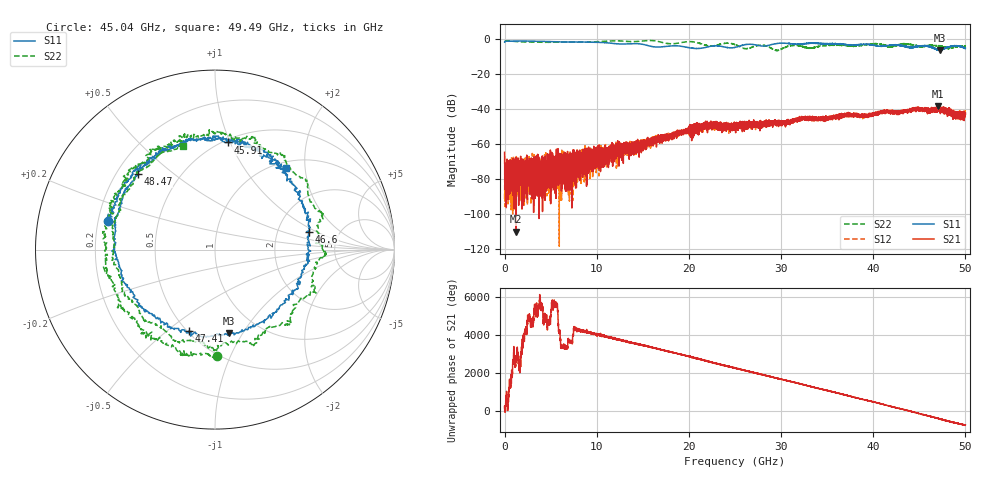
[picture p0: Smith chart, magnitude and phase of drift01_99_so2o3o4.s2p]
!Created with skrf (http://scikit-rf.org).
# Hz S RI R 50.0
!freq ReS11 ImS11 ReS21 ImS21 ReS12 ImS12 ReS22 ImS22
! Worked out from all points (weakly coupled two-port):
!   10001 points, 300 kHz to 50 GHz, reference 50 ohm
!   highest |S21| = -38.48 dB at 47.03 GHz (marker M1); lowest = -110.4 dB at 1.215 GHz (marker M2)
!   lowest |S11| = -6.6 dB at 47.24 GHz (marker M3), VSWR 2.77, Z = 36.4 - j43.3 ohm
!   |S11| at or under -10 dB: nowhere
!   |S22| runs from -6.8 to -1.0 dB; largest |S21 - S12| = 0.0039
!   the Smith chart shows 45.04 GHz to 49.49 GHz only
!   S11 on the Smith chart (normalised r, x): 45.04 GHz: 0.24, +0.13; 45.91 GHz: 0.52, +0.98; 46.6 GHz: 3.04, +0.85; 47.41 GHz: 0.51, -0.60; 48.47 GHz: 0.29, +0.38; 49.49 GHz: 1.11, +1.59
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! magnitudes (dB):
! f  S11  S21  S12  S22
! 300 kHz  -2.1  -65.0  -91.5  -1.3
! 260.3 MHz  -1.4  -69.3  -74.5  -1.4
! 1.215 GHz  -1.4  -110.4  -70.7  -1.6
! 7.015 GHz  -2.0  -78.1  -69.3  -2.0
! 8.335 GHz  -1.9  -65.7  -66.5  -2.1
! 16.67 GHz  -4.8  -54.9  -56.4  -1.6
! 21.68 GHz  -5.2  -50.1  -49.6  -3.5
! 25 GHz  -5.0  -50.6  -51.5  -3.4
! 28.09 GHz  -4.2  -48.7  -49.5  -3.8
! 29.52 GHz  -2.8  -48.1  -47.7  -6.8
! 31.29 GHz  -3.1  -46.6  -47.0  -4.0
! 33.34 GHz  -2.6  -46.0  -44.9  -5.3
! 41.67 GHz  -3.9  -41.1  -42.1  -4.6
! 45.04 GHz  -4.2  -40.2  -40.9  -4.5
! 45.91 GHz  -4.4  -41.6  -40.6  -4.2
! 46.6 GHz  -5.4  -40.1  -40.4  -3.8
! 47.03 GHz  -6.4  -38.5  -40.0  -4.2
! 47.24 GHz  -6.6  -40.7  -40.3  -4.4
! 47.41 GHz  -6.4  -40.8  -40.7  -4.5
! 48.47 GHz  -4.4  -41.9  -42.8  -5.2
! 49.49 GHz  -4.4  -42.7  -43.6  -4.4
! 50 GHz  -5.5  -43.2  -42.1  -4.3
